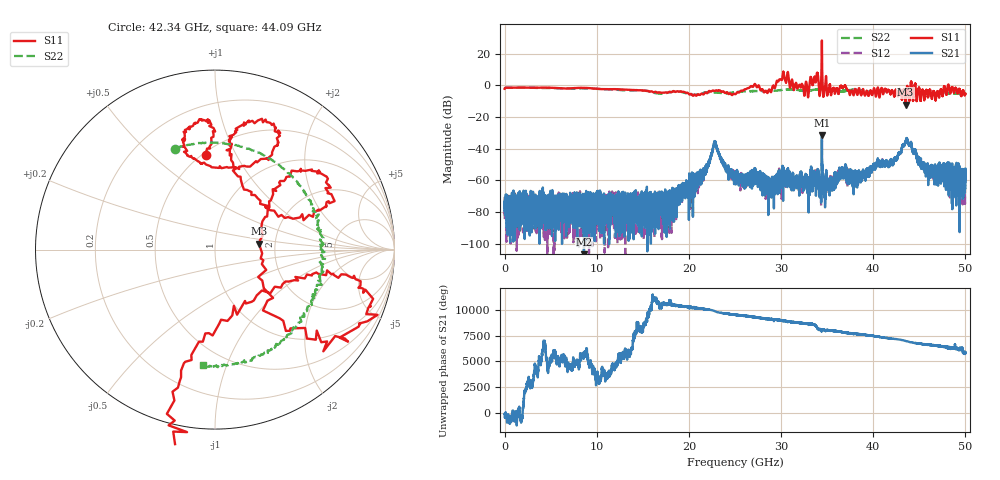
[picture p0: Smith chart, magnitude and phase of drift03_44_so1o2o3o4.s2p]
!Created with skrf (http://scikit-rf.org).
# Hz S RI R 50.0
!freq ReS11 ImS11 ReS21 ImS21 ReS12 ImS12 ReS22 ImS22
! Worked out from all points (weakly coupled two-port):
!   10000 points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, 5.3 MHz to 50 GHz, reference 50 ohm
!   highest |S21| = -31.58 dB at 34.43 GHz (marker M1); lowest = -107.5 dB at 8.615 GHz (marker M2)
!   lowest |S11| = -12.0 dB at 43.52 GHz (marker M3), VSWR 1.67, Z = 82.7 + j5.71 ohm
!   |S11| at or under -10 dB: 43.48327 GHz to 43.55516 GHz (71.88 MHz wide, 0.165 % of centre)
!   |S22| runs from -5.9 to -1.3 dB; largest |S21 - S12| = 0.015
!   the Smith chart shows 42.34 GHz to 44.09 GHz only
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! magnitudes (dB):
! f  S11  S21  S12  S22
! 5.3 MHz  -2.1  -77.1  -74.6  -2.1
! 8.34 GHz  -1.5  -74.6  -73.8  -1.9
! 8.615 GHz  -1.5  -107.5  -80.8  -1.9
! 16.67 GHz  -4.4  -79.7  -78.2  -5.2
! 21.22 GHz  -6.0  -57.3  -59.8  -5.3
! 22.82 GHz  -3.4  -35.6  -35.4  -4.4
! 23.89 GHz  -4.7  -49.9  -49.9  -4.9
! 25.01 GHz  -5.5  -57.2  -59.1  -4.2
! 27.02 GHz  -0.3  -56.1  -55.9  -3.5
! 28.72 GHz  -2.5  -60.3  -59.9  -3.5
! 30.14 GHz  4.4  -52.8  -57.9  -2.8
! 32.74 GHz  2.0  -59.4  -57.5  -3.3
! 33.34 GHz  2.6  -55.4  -54.3  -2.9
! 33.82 GHz  4.0  -57.9  -64.0  -2.6
! 34.43 GHz  28.5  -31.6  -34.4  -2.3
! 35.43 GHz  -6.2  -63.3  -59.5  -2.8
! 36.81 GHz  -0.9  -54.0  -54.8  -3.3
! 38.1 GHz  -2.5  -58.7  -58.3  -2.8
! 41.67 GHz  -2.9  -50.1  -50.1  -3.7
! 43.52 GHz  -12.0  -35.6  -35.9  -4.3
! 45.91 GHz  -6.5  -52.1  -49.8  -5.5
! 50 GHz  -5.2  -54.7  -61.5  -4.9
